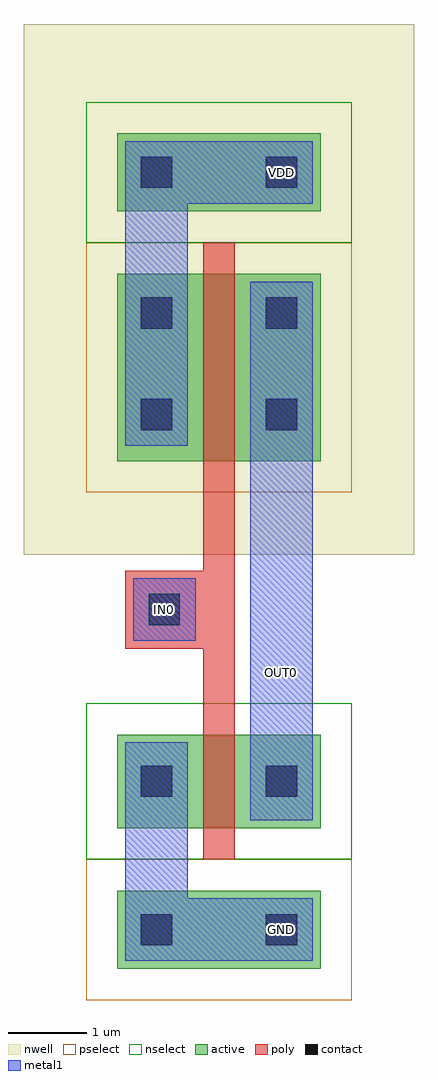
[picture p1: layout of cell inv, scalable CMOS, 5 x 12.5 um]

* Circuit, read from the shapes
.subckt inv GND IN0 OUT0 VDD
M1 OUT0 IN0 GND GND nfet w=1.2u l=0.4u
M2 OUT0 IN0 VDD VDD pfet w=2.4u l=0.4u
.ends

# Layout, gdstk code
import gdstk
lib = gdstk.Library(unit=1e-6, precision=1e-09)
def R(c, l, rs):  # rectangles x0, y0, x1, y1
    for r in rs: c.add(gdstk.rectangle(r[:2], r[2:], *l))
contact = (25, 0)
nwell = (42, 0)
active = (43, 0)
pselect = (44, 0)
nselect = (45, 0)
poly = (46, 0)
metal1 = (49, 0)

inv = lib.new_cell('inv')
R(inv, contact, [(-19.3,15.8,-18.9,16.2), (-17.7,15.8,-17.3,16.2), (-19.3,17.7,-18.9,18.1), (-17.7,17.7,-17.3,18.1), (-19.2,19.9,-18.8,20.3), (-19.3,22.4,-18.9,22.8), (-17.7,22.4,-17.3,22.8), (-19.3,23.7,-18.9,24.1), (-17.7,23.7,-17.3,24.1), (-19.3,25.5,-18.9,25.9), (-17.7,25.5,-17.3,25.9)])
R(inv, nwell, [(-20.8,20.8,-15.8,27.6)])
R(inv, active, [(-19.6,15.5,-17,16.5), (-19.6,17.3,-17,18.5), (-19.6,22,-17,24.4), (-19.6,25.2,-17,26.2)])
R(inv, pselect, [(-20,15.1,-16.6,16.9), (-20,21.6,-16.6,24.8)])
R(inv, nselect, [(-20,16.9,-16.6,18.9), (-20,24.8,-16.6,26.6)])
R(inv, poly, [(-18.5,16.9,-18.1,24.8), (-19.5,19.6,-18.5,20.6)])
R(inv, metal1, [(-19.5,15.6,-17.1,16.4), (-19.5,15.6,-18.7,18.4), (-17.9,17.4,-17.1,24.3), (-19.4,19.7,-18.6,20.5), (-19.5,22.2,-18.7,26.1), (-19.5,25.3,-17.1,26.1)])
inv.add(gdstk.Label('VDD', (-17.5,25.7), layer=75, texttype=0))
inv.add(gdstk.Label('GND', (-17.5,16), layer=75, texttype=0))
inv.add(gdstk.Label('OUT0', (-17.5,19.3), layer=75, texttype=0))
inv.add(gdstk.Label('IN0', (-19,20.1), layer=75, texttype=0))

lib.write_gds('inv.gds')
